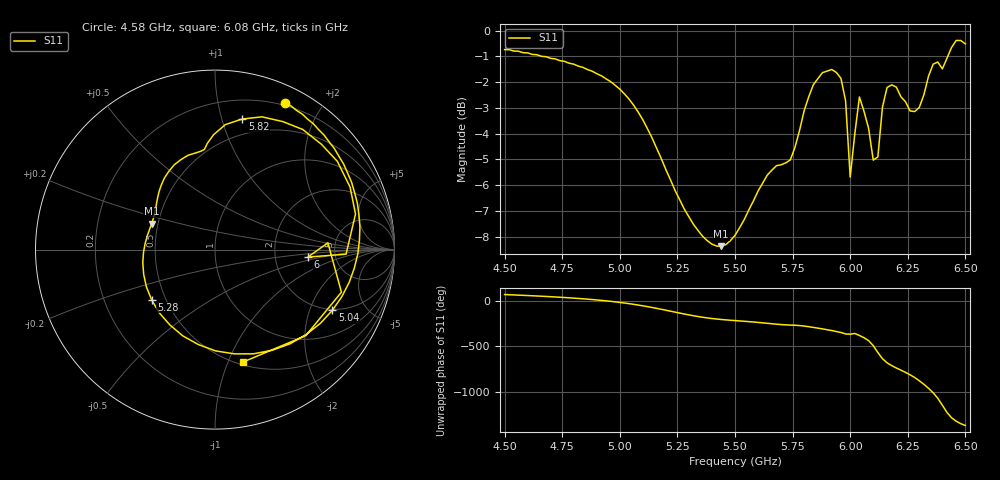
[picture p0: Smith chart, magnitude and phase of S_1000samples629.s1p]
! TOUCHSTONE file generated by CST MICROWAVE STUDIO
! Date and time: Fri Oct 28 20:05:31 2022
! Project name: L.cst
! Parameters = {Di=1.27; Epsilon_r=1.56; InnerDiameter=1.27; Length=2; Lf=10; Lg=60; OuterConductorThickness=0.2921; OuterDiameter=3.6; Wf=3; Wp=41.2; de=1.5; df=6.8; g=0.8; gx=4.30939; gy=1.28765; h=2.34; hf=1.524; px=11.7969; py=13.4538; w=9.7; wx=7.4875; wy=12.1661}
! Header version: 2018
! Port assignment regex: !\s*Touchstone port\s*([0-9]+)\s*=\s*(CST MWS port|CST DS port)\s*([0-9]+|Zmin|Zmax)\s*\(\"(.*)\"\)(\s*mode\s*([0-9]+))?.*
! Touchstone port assignment:
! Touchstone port 1 = CST MWS port 1 ("")
# GHz S DB R 50
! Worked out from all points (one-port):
!   101 points, 4.5 GHz to 6.5 GHz, reference 50 ohm
!   lowest |S11| = -8.4 dB at 5.44 GHz (marker M1), VSWR 2.23, Z = 23.1 + j7.75 ohm
!   |S11| at or under -10 dB: nowhere
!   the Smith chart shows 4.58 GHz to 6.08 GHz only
!   S11 on the Smith chart (normalised r, x): 4.58 GHz: 0.17, +1.57; 5.04 GHz: 1.96, -2.89; 5.28 GHz: 0.42, -0.29; 5.82 GHz: 0.36, +1.17; 6 GHz: 3.12, -0.35; 6.08 GHz: 0.53, -1.13
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4.5  -0.74 73.1
4.58  -0.86 64.5
4.76  -1.20 40.3
5  -2.27 -13.7
5.04  -2.66 -27.4
5.26  -6.57 -131.4
5.28  -6.93 -141.7
5.44  -8.37 157.9
5.5  -7.95 145.8
5.76  -4.54 94.2
5.82  -2.57 78.1
5.94  -1.63 24.8
6  -5.69 -4.6
6.04  -2.58 -18.6
6.08  -3.80 -76.0
6.1  -5.03 -130.6
6.12  -4.91 152.9
6.14  -2.97 85.6
6.18  -2.11 9.0
6.26  -3.12 -93.0
6.32  -2.49 162.1
6.36  -1.30 69.0
6.38  -1.22 8.8
6.4  -1.49 -68.2
6.42  -1.07 -148.0
6.44  -0.65 153.2
6.46  -0.38 115.4
6.5  -0.52 68.1
